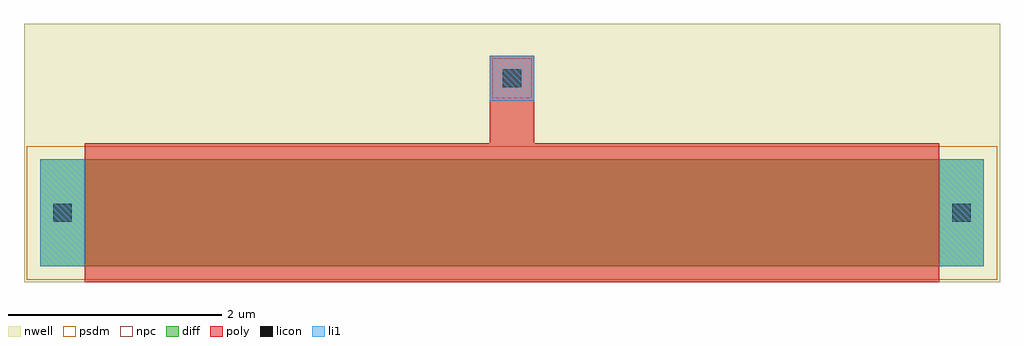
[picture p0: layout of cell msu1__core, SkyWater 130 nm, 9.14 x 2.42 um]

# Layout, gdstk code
import gdstk
lib = gdstk.Library(unit=1e-6, precision=1e-09)
def R(c, l, rs):  # rectangles x0, y0, x1, y1
    for r in rs: c.add(gdstk.rectangle(r[:2], r[2:], *l))
nwell = (64, 20)
diff = (65, 20)
poly = (66, 20)
licon = (66, 44)
li1 = (67, 20)
psdm = (94, 20)
npc = (95, 20)

msu1__core = lib.new_cell('msu1__core')
R(msu1__core, nwell, [(-0.15,-0.15,8.99,2.27)])
R(msu1__core, diff, [(0,0,8.84,1)])
R(msu1__core, poly, [(0.42,-0.15,8.42,1), (0.42,1,8.42,1.15), (0.42,1,8.42,1.15), (4.21,1.15,4.63,1.97)])
R(msu1__core, licon, [(0.125,0.415,0.295,0.585), (8.545,0.415,8.715,0.585), (4.335,1.675,4.505,1.845)])
R(msu1__core, li1, [(0,0,0.42,1), (8.42,0,8.84,1), (4.21,1.55,4.63,1.97)])
R(msu1__core, psdm, [(-0.125,-0.125,8.965,1.125)])
R(msu1__core, npc, [(4.235,1.575,4.605,1.945)])

lib.write_gds('msu1__core.gds')
